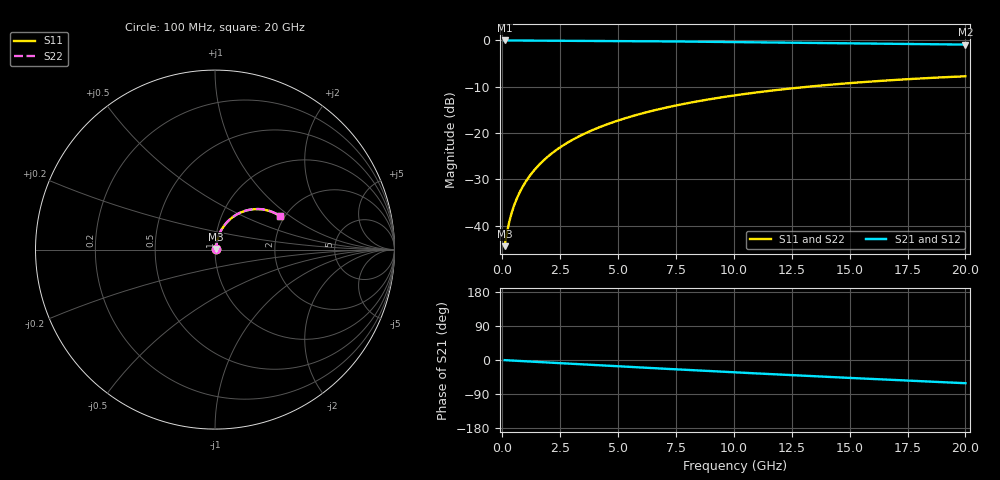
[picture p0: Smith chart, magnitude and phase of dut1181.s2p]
! Touchstone file exported from HFSS 2026.1.0
!  File:  C:/ffzhzh/LocalFiles/Ansys_Project_Files/temp_train_TMRDL_1181_1783162647_22436.aedt
!  Generated:  06:58:56 PM Jul  4, 2026
!  Design:  TMRDL
!  Project:  temp_train_TMRDL_1181_1783162647_22436
! Variables:
!  h_bsmrdl = 2um
!  h_ox = 20um
!  h_rdl = 5um
!  h_sub = 80um
!  h_tmrdl = 2.72um
!  h_tsv = 80um
!  h_via = 3um
!  l_bsmrdl = 300um
!  l_sub = 1397.23um
!  l_tmrdl = 997.23um
!  m_sub = 200um
!  pitch = 47.1um
!  r_tsv = 6um
!  s_tmrdl = 10um
!  w_bsmrdl = 18um
!  w_sub = 500um
!  w_tmrdl = 27.38um
!  x_tsv_center1 = 1010.92um
!  x_tsv_center2 = 1328.92um
!  x_tsv_center3 = 2353.53um
!  x_tsv_center4 = 2671.53um
!  x_tsv_center5 = 3696.14um
!  x_tsv_center6 = 4014.14um
# GHz S MA R 50.000000
! Terminal data exported
! Port[1] = TM_RDL1_1_T1
! Port[2] = TM_RDL1_1_T2
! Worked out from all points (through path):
!   200 points, 100 MHz to 20 GHz, reference 50 ohm
!   highest |S21| = -0.04 dB at 100 MHz (marker M1); lowest = -0.9 dB at 20 GHz (marker M2)
!   group delay of S21, straight-line fit = 8.51 ps
!   lowest |S11| = -44.5 dB at 100 MHz (marker M3), VSWR 1.01, Z = 50.5 + j0.328 ohm
!   |S11| at or under -10 dB: start of sweep to 13.27 GHz
!   |S22| runs from -44.5 to -7.8 dB; largest |S21 - S12| = 2.6e-15
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0.1  0.00599 32.8  0.995 -0.4  0.995 -0.4  0.00599 32.8
! Gamma 0 0 0 0
! Port Impedance 50 0 50 0
0.2  0.008326 49.8  0.9947 -0.7  0.9947 -0.7  0.008326 49.8
0.3  0.01095 58.0  0.9943 -1.1  0.9943 -1.1  0.01095 58.0
0.4  0.0136 62.7  0.994 -1.4  0.994 -1.4  0.0136 62.7
0.5  0.01623 65.9  0.9937 -1.7  0.9937 -1.7  0.01623 65.9
0.6  0.01885 68.2  0.9935 -2.1  0.9935 -2.1  0.01885 68.2
0.8  0.0241 71.3  0.9931 -2.7  0.9931 -2.7  0.0241 71.3
1.1  0.03207 73.9  0.9926 -3.7  0.9926 -3.7  0.03207 73.9
1.3  0.03744 74.9  0.9924 -4.4  0.9924 -4.4  0.03744 74.9
1.6  0.04553 75.6  0.9919 -5.4  0.9919 -5.4  0.04553 75.7
2.1  0.05908 75.9  0.991 -7.0  0.991 -7.0  0.05908 75.9
2.7  0.07531 75.2  0.9897 -9.0  0.9897 -9.0  0.07531 75.3
3.5  0.09677 73.7  0.9875 -11.7  0.9875 -11.7  0.09677 73.7
4.2  0.1153 71.9  0.9852 -14.0  0.9852 -14.0  0.1153 72.0
5  0.1361 69.8  0.9821 -16.6  0.9821 -16.6  0.1361 69.8
5.9  0.1589 67.2  0.9782 -19.5  0.9782 -19.5  0.1589 67.3
6.8  0.181 64.5  0.9738 -22.4  0.9738 -22.4  0.181 64.6
8.3  0.2162 60.1  0.9658 -27.1  0.9658 -27.1  0.2162 60.2
10.1  0.2555 54.7  0.9553 -32.7  0.9553 -32.7  0.2554 54.8
13.4  0.3184 45.1  0.935 -42.6  0.935 -42.6  0.3184 45.2
16.7  0.3694 35.8  0.9154 -52.1  0.9154 -52.1  0.3694 36.0
20  0.4086 26.9  0.8984 -61.2  0.8984 -61.2  0.4086 27.1
